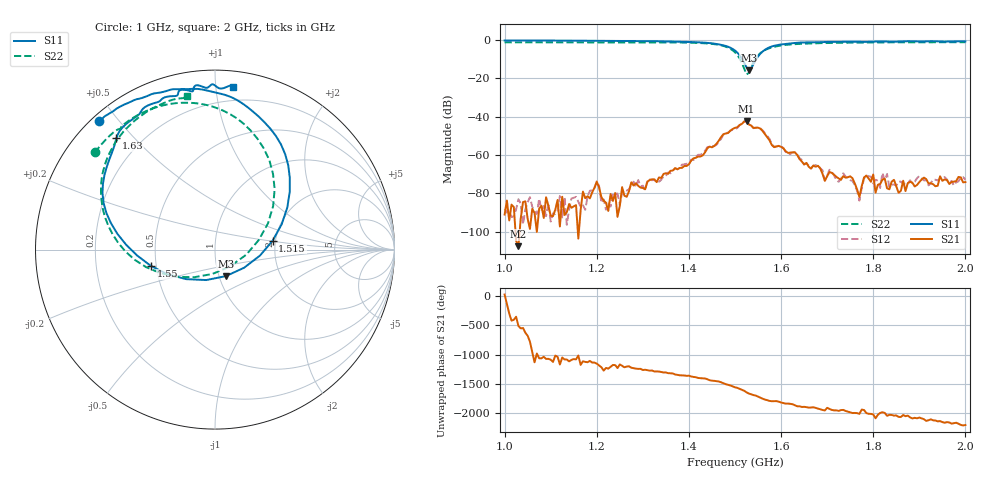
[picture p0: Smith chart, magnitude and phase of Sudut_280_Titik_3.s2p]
# Hz S RI R 50
! CMT, C1220, 16058040, 17.2.0/1
! Date: 14/08/2018 12:40:53
! Data: Format (Calibration Info)
! Freq  S11: Re/Im (F2)  S21: Re/Im (F2)  S12: Re/Im (F2)  S22: Re/Im (F2)
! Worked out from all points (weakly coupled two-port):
!   201 points, 1 GHz to 2 GHz, reference 50 ohm
!   highest |S21| = -42.54 dB at 1.525 GHz (marker M1); lowest = -107.6 dB at 1.03 GHz (marker M2)
!   lowest |S11| = -15.9 dB at 1.53 GHz (marker M3), VSWR 1.38, Z = 53.9 - j16.3 ohm
!   |S11| at or under -10 dB: 1.516 GHz to 1.546 GHz (30.84 MHz wide, 2.01 % of centre)
!   |S22| runs from -18.0 to -1.2 dB; largest |S21 - S12| = 0.00032
!   S11 on the Smith chart (normalised r, x): 1 GHz: 0.02, +0.44; 1.515 GHz: 1.93, +0.21; 1.55 GHz: 0.47, -0.10; 1.63 GHz: 0.11, +0.45; 2 GHz: 0.10, +1.11
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1e9  -0.6474 0.7139  2.54e-05 1.13e-05  -1.97e-05 -3.38e-05  -0.6706 0.5411
1.03e9  -0.6215 0.7363  -3.69e-06 -1.93e-06  -5.25e-05 4.62e-05  -0.6544 0.5609
1.17e9  -0.4723 0.8226  9.12e-05 -6.22e-05  4.89e-05 -1.14e-07  -0.5583 0.6586
1.335e9  -0.2101 0.893  -0.000225 0.000127  -0.000147 0.000134  -0.3737 0.7758
1.45e9  0.1877 0.7886  0.00157 -0.000142  0.00165 -0.000255  0.0186 0.7854
1.5e9  0.4164 0.3219  -0.00236 -0.0045  -0.00225 -0.00422  0.3323 0.3367
1.515e9  0.3212 0.0496  -0.006 -0.00236  -0.00599 -0.00252  0.244 0.0536
1.525e9  0.1621 -0.1011  -0.00681 0.00304  -0.0069 0.00304  0.0848 -0.0932
1.53e9  0.0604 -0.1477  -0.00444 0.00434  -0.0045 0.00437  -0.0145 -0.1357
1.55e9  -0.3579 -0.0904  0.000535 0.00511  0.000299 0.00517  -0.3828 -0.0982
1.63e9  -0.5494 0.6208  0.000517 -0.00104  0.00062 -0.00101  -0.6156 0.465
1.67e9  -0.4353 0.7436  -7.92e-05 -0.00052  -4.62e-05 -0.000522  -0.5635 0.5831
1.695e9  -0.4024 0.7836  -0.000187 -9.63e-05  -0.000179 -0.000122  -0.5308 0.6311
1.705e9  -0.3786 0.8008  -0.000206 -0.000291  -0.000262 -0.000315  -0.5173 0.6487
1.75e9  -0.288 0.8445  -0.000276 1.34e-05  -0.000219 1.36e-05  -0.4585 0.7091
1.77e9  -0.2354 0.855  -6.88e-05 4.08e-05  -6.28e-05 1.2e-05  -0.4344 0.7292
1.785e9  -0.2094 0.8597  -0.000276 8.48e-05  -0.000291 3.66e-05  -0.4152 0.7432
1.8e9  -0.2027 0.8797  -0.000233 0.000203  -0.000133 0.000123  -0.3966 0.7563
1.805e9  -0.1981 0.886  2.78e-05 9.98e-05  -0.000187 0.000124  -0.391 0.7607
1.83e9  -0.1425 0.8848  -6e-05 0.00012  -0.000266 0.000173  -0.3614 0.7787
1.835e9  -0.1324 0.882  -8.56e-05 9.35e-05  -4.99e-05 0.000132  -0.3556 0.7824
2e9  0.1025 0.9067  0.000147 -0.000129  0.00014 -0.000174  -0.1561 0.8541
